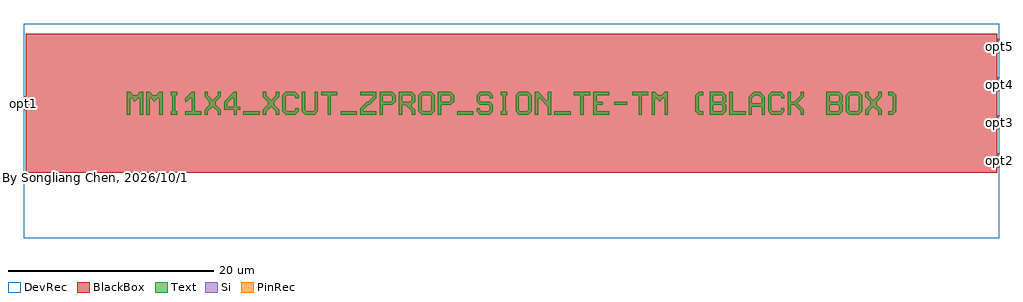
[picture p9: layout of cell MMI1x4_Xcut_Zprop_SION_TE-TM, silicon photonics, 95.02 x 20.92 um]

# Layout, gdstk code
import gdstk
lib = gdstk.Library(unit=1e-6, precision=1e-10)
def R(c, l, rs):  # rectangles x0, y0, x1, y1
    for r in rs: c.add(gdstk.rectangle(r[:2], r[2:], *l))
def P(c, l, *ps):  # polygons
    for p in ps: c.add(gdstk.Polygon(p, *l))
Si = (1, 0)
PinRec = (1, 10)
Text = (10, 0)
DevRec = (68, 0)
BlackBox = (998, 0)

text_21 = lib.new_cell('TEXT$21')
R(text_21, Text, [(11.352,0,12.929,0.315), (20.812,0,22.389,0.315), (32.164,0,33.741,0.315), (41.624,0,43.201,0.315), (47.458,0.946,48.719,1.261)])
P(text_21, Text, [(0,0),(0,2.207),(0.315,2.207),(0.631,1.892),(0.946,1.892),(1.261,2.207),(1.577,2.207),(1.577,0),(1.261,0),(1.261,1.577),(1.104,1.577),(0.788,1.261),(0.473,1.577),(0.315,1.577),(0.315,0)],
  [(1.892,0),(1.892,2.207),(2.207,2.207),(2.523,1.892),(2.838,1.892),(3.153,2.207),(3.469,2.207),(3.469,0),(3.153,0),(3.153,1.577),(2.996,1.577),(2.68,1.261),(2.365,1.577),(2.207,1.577),(2.207,0)],
  [(4.257,0),(4.257,0.315),(4.415,0.315),(4.415,1.892),(4.257,1.892),(4.257,2.207),(4.888,2.207),(4.888,1.892),(4.73,1.892),(4.73,0.315),(4.888,0.315),(4.888,0)],
  [(5.676,0),(5.676,0.315),(6.307,0.315),(6.307,1.577),(6.149,1.577),(5.834,1.261),(5.676,1.261),(5.676,1.577),(6.307,2.207),(6.622,2.207),(6.622,0.315),(7.253,0.315),(7.253,0)],
  [(7.568,0),(7.568,0.473),(8.041,0.946),(8.041,1.261),(7.568,1.734),(7.568,2.207),(7.883,2.207),(7.883,1.892),(8.356,1.419),(8.829,1.892),(8.829,2.207),(9.145,2.207),(9.145,1.734),(8.672,1.261),(8.672,0.946),(9.145,0.473),(9.145,0),(8.829,0),(8.829,0.315),(8.356,0.788),(7.883,0.315),(7.883,0)],
  [(10.406,0),(10.406,0.473),(9.46,0.473),(9.46,0.788),(10.406,0.788),(10.406,1.577),(10.248,1.577),(9.775,1.104),(9.775,0.788),(9.46,0.788),(9.46,1.261),(10.406,2.207),(10.721,2.207),(10.721,0.788),(11.037,0.788),(11.037,0.473),(10.721,0.473),(10.721,0)],
  [(13.244,0),(13.244,0.473),(13.717,0.946),(13.717,1.261),(13.244,1.734),(13.244,2.207),(13.559,2.207),(13.559,1.892),(14.032,1.419),(14.505,1.892),(14.505,2.207),(14.821,2.207),(14.821,1.734),(14.348,1.261),(14.348,0.946),(14.821,0.473),(14.821,0),(14.505,0),(14.505,0.315),(14.032,0.788),(13.559,0.315),(13.559,0)],
  [(15.451,0),(15.136,0.315),(15.136,1.892),(15.451,2.207),(16.397,2.207),(16.713,1.892),(16.713,1.577),(16.397,1.577),(16.397,1.734),(16.24,1.892),(15.609,1.892),(15.451,1.734),(15.451,0.473),(15.609,0.315),(16.24,0.315),(16.397,0.473),(16.397,0.631),(16.713,0.631),(16.713,0.315),(16.397,0)],
  [(17.343,0),(17.028,0.315),(17.028,2.207),(17.343,2.207),(17.343,0.473),(17.501,0.315),(18.132,0.315),(18.289,0.473),(18.289,2.207),(18.605,2.207),(18.605,0.315),(18.289,0)],
  [(19.551,0),(19.551,1.892),(18.92,1.892),(18.92,2.207),(20.497,2.207),(20.497,1.892),(19.866,1.892),(19.866,0)],
  [(22.704,0),(22.704,0.631),(23.335,1.261),(23.492,1.261),(23.965,1.734),(23.965,1.892),(22.704,1.892),(22.704,2.207),(24.281,2.207),(24.281,1.577),(23.65,0.946),(23.492,0.946),(23.019,0.473),(23.019,0.315),(24.281,0.315),(24.281,0)],
  [(24.596,0),(24.596,2.207),(25.857,2.207),(26.173,1.892),(26.173,1.261),(25.857,0.946),(24.911,0.946),(24.911,1.261),(25.7,1.261),(25.857,1.419),(25.857,1.734),(25.7,1.892),(24.911,1.892),(24.911,0)],
  [(26.488,0),(26.488,2.207),(27.749,2.207),(28.065,1.892),(26.803,1.892),(26.803,1.261),(27.592,1.261),(27.749,1.419),(27.749,1.734),(27.592,1.892),(28.065,1.892),(28.065,1.261),(27.749,0.946),(27.749,0.788),(28.065,0.473),(28.065,0),(27.749,0),(27.749,0.315),(27.119,0.946),(26.803,0.946),(26.803,0)],
  [(28.695,0),(28.38,0.315),(28.38,1.892),(28.695,2.207),(29.641,2.207),(29.957,1.892),(29.957,1.104),(29.641,1.104),(29.641,1.734),(29.484,1.892),(28.853,1.892),(28.695,1.734),(28.695,0.473),(28.853,0.315),(29.484,0.315),(29.641,0.473),(29.641,1.104),(29.957,1.104),(29.957,0.315),(29.641,0)],
  [(30.272,0),(30.272,2.207),(31.533,2.207),(31.849,1.892),(31.849,1.261),(31.533,0.946),(30.587,0.946),(30.587,1.261),(31.376,1.261),(31.533,1.419),(31.533,1.734),(31.376,1.892),(30.587,1.892),(30.587,0)],
  [(34.371,0),(34.056,0.315),(34.056,0.631),(34.371,0.631),(34.371,0.473),(34.529,0.315),(35.16,0.315),(35.317,0.473),(35.317,0.788),(35.16,0.946),(34.371,0.946),(34.056,1.261),(34.056,1.892),(34.371,2.207),(35.317,2.207),(35.633,1.892),(35.633,1.577),(35.317,1.577),(35.317,1.734),(35.16,1.892),(34.529,1.892),(34.371,1.734),(34.371,1.419),(34.529,1.261),(35.317,1.261),(35.633,0.946),(35.633,0.315),(35.317,0)],
  [(36.421,0),(36.421,0.315),(36.579,0.315),(36.579,1.892),(36.421,1.892),(36.421,2.207),(37.052,2.207),(37.052,1.892),(36.894,1.892),(36.894,0.315),(37.052,0.315),(37.052,0)],
  [(38.155,0),(37.84,0.315),(37.84,1.892),(38.155,2.207),(39.101,2.207),(39.417,1.892),(39.417,1.104),(39.101,1.104),(39.101,1.734),(38.944,1.892),(38.313,1.892),(38.155,1.734),(38.155,0.473),(38.313,0.315),(38.944,0.315),(39.101,0.473),(39.101,1.104),(39.417,1.104),(39.417,0.315),(39.101,0)],
  [(39.732,0),(39.732,2.207),(40.047,2.207),(40.836,1.419),(40.993,1.419),(40.993,2.207),(41.309,2.207),(41.309,0),(40.993,0),(40.993,0.788),(40.205,1.577),(40.047,1.577),(40.047,0)],
  [(44.147,0),(44.147,1.892),(43.516,1.892),(43.516,2.207),(45.093,2.207),(45.093,1.892),(44.462,1.892),(44.462,0)],
  [(45.408,0),(45.408,2.207),(46.985,2.207),(46.985,1.892),(45.723,1.892),(45.723,1.261),(46.354,1.261),(46.354,0.946),(45.723,0.946),(45.723,0.315),(46.985,0.315),(46.985,0)],
  [(49.823,0),(49.823,1.892),(49.192,1.892),(49.192,2.207),(50.769,2.207),(50.769,1.892),(50.138,1.892),(50.138,0)],
  [(51.084,0),(51.084,2.207),(51.399,2.207),(51.715,1.892),(52.03,1.892),(52.345,2.207),(52.661,2.207),(52.661,0),(52.345,0),(52.345,1.577),(52.188,1.577),(51.872,1.261),(51.557,1.577),(51.399,1.577),(51.399,0)],
  [(55.656,0),(55.341,0.315),(55.341,1.892),(55.656,2.207),(56.129,2.207),(56.129,1.892),(55.814,1.892),(55.656,1.734),(55.656,0.473),(55.814,0.315),(56.129,0.315),(56.129,0)],
  [(56.76,0),(56.76,2.207),(58.021,2.207),(58.337,1.892),(57.075,1.892),(57.075,1.261),(57.864,1.261),(58.021,1.419),(58.021,1.734),(57.864,1.892),(58.337,1.892),(58.337,1.261),(58.179,1.104),(58.337,0.946),(57.075,0.946),(57.075,0.315),(57.864,0.315),(58.021,0.473),(58.021,0.788),(57.864,0.946),(58.337,0.946),(58.337,0.315),(58.021,0)],
  [(58.652,0),(58.652,2.207),(58.967,2.207),(58.967,0.315),(60.229,0.315),(60.229,0)],
  [(60.544,0),(60.544,1.734),(61.017,2.207),(61.648,2.207),(61.963,1.892),(61.175,1.892),(60.859,1.577),(60.859,1.104),(61.805,1.104),(61.805,1.577),(61.49,1.892),(61.963,1.892),(62.121,1.734),(62.121,0),(61.805,0),(61.805,0.788),(60.859,0.788),(60.859,0)],
  [(62.751,0),(62.436,0.315),(62.436,1.892),(62.751,2.207),(63.697,2.207),(64.013,1.892),(64.013,1.577),(63.697,1.577),(63.697,1.734),(63.54,1.892),(62.909,1.892),(62.751,1.734),(62.751,0.473),(62.909,0.315),(63.54,0.315),(63.697,0.473),(63.697,0.631),(64.013,0.631),(64.013,0.315),(63.697,0)],
  [(64.328,0),(64.328,2.207),(64.643,2.207),(64.643,1.261),(64.959,1.261),(65.589,1.892),(65.589,2.207),(65.905,2.207),(65.905,1.734),(65.274,1.104),(65.905,0.473),(65.905,0),(65.589,0),(65.589,0.315),(64.959,0.946),(64.643,0.946),(64.643,0)],
  [(68.112,0),(68.112,2.207),(69.373,2.207),(69.689,1.892),(68.427,1.892),(68.427,1.261),(69.216,1.261),(69.373,1.419),(69.373,1.734),(69.216,1.892),(69.689,1.892),(69.689,1.261),(69.531,1.104),(69.689,0.946),(68.427,0.946),(68.427,0.315),(69.216,0.315),(69.373,0.473),(69.373,0.788),(69.216,0.946),(69.689,0.946),(69.689,0.315),(69.373,0)],
  [(70.319,0),(70.004,0.315),(70.004,1.892),(70.319,2.207),(71.265,2.207),(71.581,1.892),(71.581,1.104),(71.265,1.104),(71.265,1.734),(71.108,1.892),(70.477,1.892),(70.319,1.734),(70.319,0.473),(70.477,0.315),(71.108,0.315),(71.265,0.473),(71.265,1.104),(71.581,1.104),(71.581,0.315),(71.265,0)],
  [(71.896,0),(71.896,0.473),(72.369,0.946),(72.369,1.261),(71.896,1.734),(71.896,2.207),(72.211,2.207),(72.211,1.892),(72.684,1.419),(73.157,1.892),(73.157,2.207),(73.473,2.207),(73.473,1.734),(73,1.261),(73,0.946),(73.473,0.473),(73.473,0),(73.157,0),(73.157,0.315),(72.684,0.788),(72.211,0.315),(72.211,0)],
  [(74.103,0),(74.103,0.315),(74.419,0.315),(74.576,0.473),(74.576,1.734),(74.419,1.892),(74.103,1.892),(74.103,2.207),(74.576,2.207),(74.892,1.892),(74.892,0.315),(74.576,0)])

mmi1x4_xcut_zprop_sion_t = lib.new_cell('MMI1x4_Xcut_Zprop_SION_TE-TM')
R(mmi1x4_xcut_zprop_sion_t, Si, [(47.3,-6.2586,47.5,-4.8586), (47.3,-2.5529,47.5,-1.1529), (-47.5,-0.7,-47.3,0.7), (47.3,1.1529,47.5,2.5529), (47.3,4.8586,47.5,6.2586)])
R(mmi1x4_xcut_zprop_sion_t, DevRec, [(-47.5,-13.1586,47.5,7.7586)])
R(mmi1x4_xcut_zprop_sion_t, BlackBox, [(-47.3,-6.7586,47.3,6.7586)])
mmi1x4_xcut_zprop_sion_t.add(gdstk.FlexPath([(-47.49,0),(-47.51,0)], 1.4, ends="flush", simple_path=True, layer=1, datatype=10))  # PinRec
mmi1x4_xcut_zprop_sion_t.add(gdstk.FlexPath([(47.49,-5.5586),(47.51,-5.5586)], 1.4, ends="flush", simple_path=True, layer=1, datatype=10))  # PinRec
mmi1x4_xcut_zprop_sion_t.add(gdstk.FlexPath([(47.49,-1.8529),(47.51,-1.8529)], 1.4, ends="flush", simple_path=True, layer=1, datatype=10))  # PinRec
mmi1x4_xcut_zprop_sion_t.add(gdstk.FlexPath([(47.49,1.8529),(47.51,1.8529)], 1.4, ends="flush", simple_path=True, layer=1, datatype=10))  # PinRec
mmi1x4_xcut_zprop_sion_t.add(gdstk.FlexPath([(47.49,5.5586),(47.51,5.5586)], 1.4, ends="flush", simple_path=True, layer=1, datatype=10))  # PinRec
mmi1x4_xcut_zprop_sion_t.add(gdstk.Reference(text_21, (-37.446,-1.1035)))
mmi1x4_xcut_zprop_sion_t.add(gdstk.Label('By Songliang Chen, 2026/10/13', (-47,-7.2586), layer=10, texttype=0))
mmi1x4_xcut_zprop_sion_t.add(gdstk.Label('opt1', (-47.5,0), layer=1, texttype=10))
mmi1x4_xcut_zprop_sion_t.add(gdstk.Label('opt2', (47.5,-5.5586), layer=1, texttype=10))
mmi1x4_xcut_zprop_sion_t.add(gdstk.Label('opt3', (47.5,-1.8529), layer=1, texttype=10))
mmi1x4_xcut_zprop_sion_t.add(gdstk.Label('opt4', (47.5,1.8529), layer=1, texttype=10))
mmi1x4_xcut_zprop_sion_t.add(gdstk.Label('opt5', (47.5,5.5586), layer=1, texttype=10))

lib.write_gds('MMI1x4_Xcut_Zprop_SION_TE-TM.gds')
